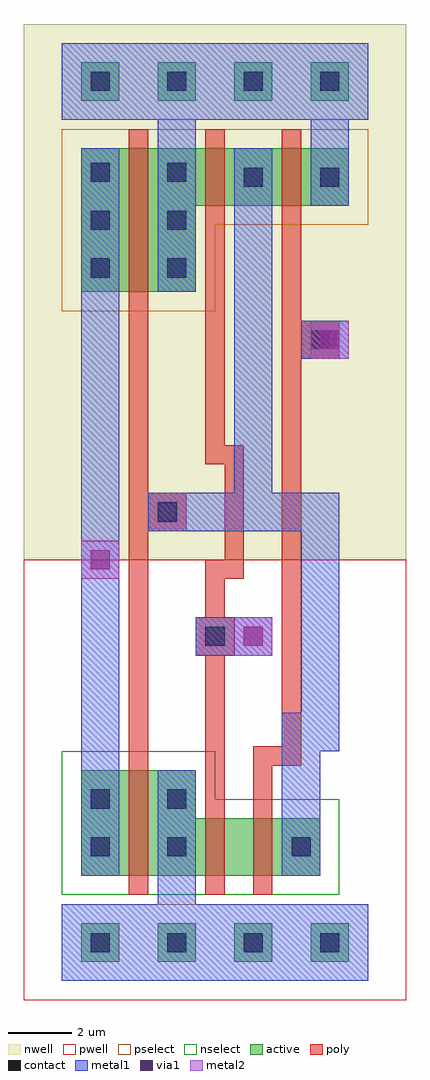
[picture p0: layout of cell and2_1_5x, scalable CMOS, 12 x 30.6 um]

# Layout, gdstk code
import gdstk
lib = gdstk.Library(unit=1e-6, precision=1e-09)
def R(c, l, rs):  # rectangles x0, y0, x1, y1
    for r in rs: c.add(gdstk.rectangle(r[:2], r[2:], *l))
def A(c, l, x, y, w, h, nx, ny, dx, dy):  # array of equal rectangles
    R(c, l, [(x+i*dx, y+j*dy, x+i*dx+w, y+j*dy+h) for i in range(nx) for j in range(ny)])
contact = (25, 0)
pwell = (41, 0)
nwell = (42, 0)
active = (43, 0)
pselect = (44, 0)
nselect = (45, 0)
poly = (46, 0)
metal1 = (49, 0)
via1 = (50, 0)
metal2 = (51, 0)

and2_1_5x = lib.new_cell('and2_1_5x')
A(and2_1_5x, contact, 0.3, -0.3, 0.6, 0.6, 4, 2, 2.4, 27)
A(and2_1_5x, contact, 0.3, 20.85, 0.6, 0.6, 1, 3, 0, 1.5)
A(and2_1_5x, contact, 2.7, 20.85, 0.6, 0.6, 1, 3, 0, 1.5)
R(and2_1_5x, contact, [(0.3,2.7,0.9,3.3), (2.7,2.7,3.3,3.3), (6.6,2.7,7.2,3.3), (0.3,4.2,0.9,4.8), (2.7,4.2,3.3,4.8), (3.9,9.3,4.5,9.9), (2.4,13.2,3,13.8), (7.2,18.6,7.8,19.2), (5.1,23.7,5.7,24.3), (7.5,23.7,8.1,24.3)])
A(and2_1_5x, pwell, -0.9, -1.5, 3, 3, 4, 1, 2.4, 0)
R(and2_1_5x, pwell, [(-1.8,-1.8,10.2,12), (-1.8,0.3,3,7.2), (-1.2,0.3,4.8,7.2), (0.6,0.3,5.4,7.2), (1.2,0.3,7.2,5.7), (2.7,0.3,8.7,5.7), (4.5,0.3,9.3,5.7), (2.325,0.75,7.575,5.25), (0.75,0.9,5.325,5.4), (4.575,0.9,9.15,5.4), (-1.65,1.35,2.925,5.85), (0.675,2.55,5.25,7.05)])
A(and2_1_5x, nwell, -0.9, 25.5, 3, 3, 4, 1, 2.4, 0)
R(and2_1_5x, nwell, [(-1.8,12,10.2,28.8), (-1.8,18.6,3,26.7), (-1.2,18.6,4.8,26.7), (0.6,18.6,5.4,26.7), (0.675,18.75,5.25,23.25), (-1.65,19.8,2.925,24.3), (0.75,21.3,5.325,25.8), (1.2,21.3,7.2,26.7), (3,21.3,7.8,26.7), (3.075,21.3,7.65,25.8), (3.15,21.3,7.65,26.7), (3.225,21.3,7.725,26.7), (3.6,21.3,9.6,26.7), (5.4,21.3,10.2,26.7), (3.15,22.2,7.725,26.7), (5.475,22.2,10.05,26.7)])
A(and2_1_5x, active, 0, -0.6, 1.2, 1.2, 4, 2, 2.4, 27)
R(and2_1_5x, active, [(0,2.1,1.2,5.4), (0.6,2.1,3,5.4), (2.4,2.1,3.6,5.4), (3,2.1,5.4,3.9), (4.5,2.1,6.9,3.9), (6.3,2.1,7.5,3.9), (4.125,2.55,5.775,3.45), (2.55,2.7,3.525,3.6), (6.375,2.7,7.35,3.6), (0.15,3.15,1.125,4.05), (2.475,4.35,3.45,5.25), (0,20.4,1.2,24.9), (0.6,20.4,3,24.9), (2.4,20.4,3.6,24.9), (2.475,20.55,3.45,21.45), (0.15,21.6,1.125,22.5), (2.55,23.1,3.525,24), (3,23.1,5.4,24.9), (4.8,23.1,6,24.9), (4.875,23.1,5.85,24), (4.95,23.1,5.85,24.9), (5.025,23.1,5.925,24.9), (5.4,23.1,7.8,24.9), (7.2,23.1,8.4,24.9), (4.95,24,5.925,24.9), (7.275,24,8.25,24.9)])
A(and2_1_5x, pselect, -0.6, -1.2, 2.4, 2.4, 4, 1, 2.4, 0)
R(and2_1_5x, pselect, [(-0.6,19.8,1.8,25.5), (0,19.8,3.6,25.5), (1.8,19.8,4.2,25.5), (1.875,19.95,4.05,22.05), (-0.45,21,1.725,23.1), (1.95,22.5,4.125,24.6), (2.4,22.5,6,25.5), (4.2,22.5,6.6,25.5), (4.275,22.5,6.45,24.6), (4.35,22.5,6.45,25.5), (4.425,22.5,6.525,25.5), (4.8,22.5,8.4,25.5), (6.6,22.5,9,25.5), (4.35,23.4,6.525,25.5), (6.675,23.4,8.85,25.5)])
A(and2_1_5x, nselect, -0.6, 25.8, 2.4, 2.4, 4, 1, 2.4, 0)
R(and2_1_5x, nselect, [(-0.6,1.5,1.8,6), (0,1.5,3.6,6), (1.8,1.5,4.2,6), (2.4,1.5,6,4.5), (3.9,1.5,7.5,4.5), (5.7,1.5,8.1,4.5), (3.525,1.95,6.375,4.05), (1.95,2.1,4.125,4.2), (5.775,2.1,7.95,4.2), (-0.45,2.55,1.725,4.65), (1.875,3.75,4.05,5.85)])
R(and2_1_5x, poly, [(1.5,1.5,2.1,6), (3.9,1.5,4.5,4.5), (5.4,1.5,6,4.5), (3.9,4.2,4.5,9.9), (5.4,4.2,6,6.15), (5.4,5.55,6.9,6.15), (6.3,5.55,6.9,19.2), (1.5,5.7,2.1,13.8), (3.6,9,4.8,10.2), (3.9,9.3,4.65,9.9), (3.9,9.3,4.5,12), (3.9,11.4,5.1,12), (4.5,11.4,5.1,15.6), (2.1,12.9,3.3,14.1), (1.5,13.2,2.1,20.1), (1.5,13.2,3,13.8), (3.9,15,4.5,22.8), (3.9,15,5.1,15.6), (6.9,18.3,8.1,19.5), (6.3,18.6,7.8,19.2), (6.3,18.6,6.9,22.8), (1.5,19.8,2.1,25.5), (3.9,22.5,4.5,25.5), (6.3,22.5,6.9,25.5)])
A(and2_1_5x, metal1, -0.6, -1.2, 4.8, 2.4, 3, 1, 2.4, 0)
A(and2_1_5x, metal1, 0, -0.6, 1.2, 1.2, 4, 2, 2.4, 27)
R(and2_1_5x, metal1, [(-0.6,-1.2,1.8,1.2), (-0.6,-1.2,4.2,1.2), (2.4,-0.6,3.6,3.3), (0,2.1,1.2,5.4), (2.4,2.1,3.6,5.4), (6.3,2.1,7.5,3.9), (6.3,2.7,7.5,7.2), (0,4.2,1.2,12.6), (6.3,6,8.1,7.2), (6.9,6,8.1,7.2), (6.9,6,8.1,14.1), (3.6,9,4.8,10.2), (3.75,9,6,10.2), (4.8,9,6,10.2), (0,11.4,1.2,12.6), (0,11.4,1.2,21.6), (2.1,12.9,3.3,14.1), (2.1,12.9,6,14.1), (4.8,12.9,6,24.3), (4.8,12.9,8.1,14.1), (6.9,18.3,8.1,19.5), (6.9,18.3,8.1,19.5), (7.2,18.3,8.4,19.5), (0,20.4,1.2,24.9), (2.4,20.4,3.6,24.9), (4.8,23.1,6,24.9), (7.2,23.1,8.4,24.9), (2.4,23.7,3.6,27.6), (7.2,23.7,8.4,27.6), (-0.6,25.8,1.8,28.2), (-0.6,25.8,4.2,28.2), (1.8,25.8,9,28.2), (0,26.4,1.2,27.6), (4.8,26.4,8.4,27.6), (7.2,26.4,8.4,27.6)])
R(and2_1_5x, via1, [(5.1,9.3,5.7,9.9), (0.3,11.7,0.9,12.3), (7.5,18.6,8.1,19.2)])
R(and2_1_5x, metal2, [(4.8,9,6,10.2), (0,11.4,1.2,12.6), (7.2,18.3,8.4,19.5)])

lib.write_gds('and2_1_5x.gds')
